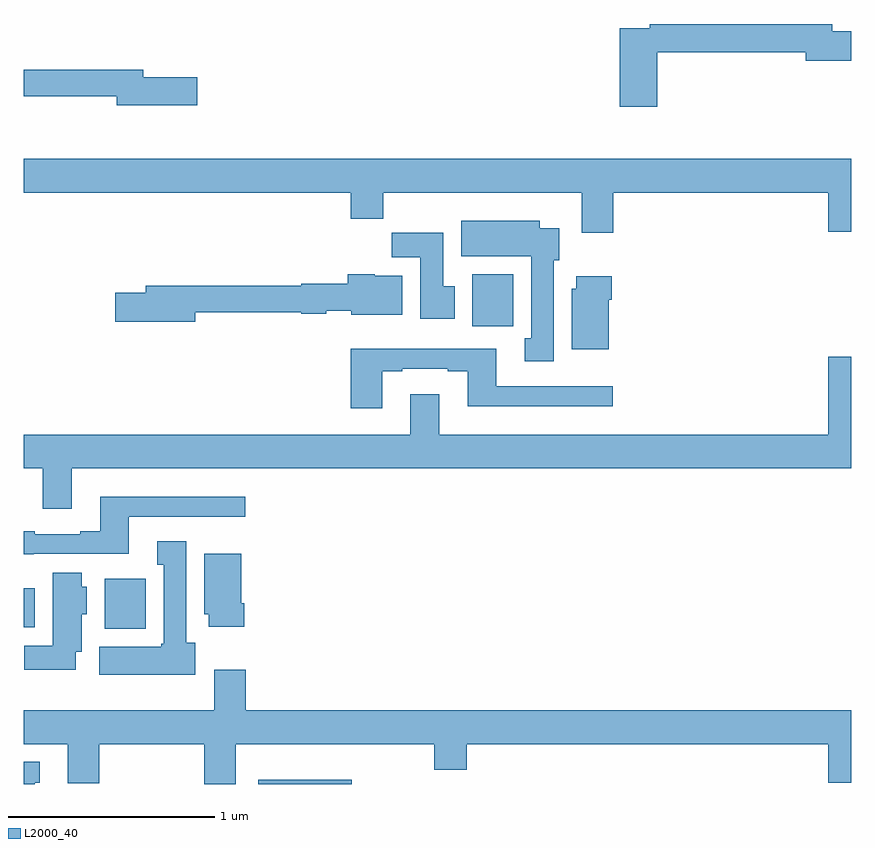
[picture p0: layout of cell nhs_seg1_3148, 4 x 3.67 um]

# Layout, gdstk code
import gdstk
lib = gdstk.Library(unit=1e-6, precision=1e-09)
def R(c, l, rs):  # rectangles x0, y0, x1, y1
    for r in rs: c.add(gdstk.rectangle(r[:2], r[2:], *l))
def P(c, l, *ps):  # polygons
    for p in ps: c.add(gdstk.Polygon(p, *l))
L2000_40 = (2000, 40)

nhs_seg1_3148 = lib.new_cell('nhs_seg1_3148')
R(nhs_seg1_3148, L2000_40, [(282.134,558.199,282.586,558.22), (281.393,558.95,281.59,559.192), (281,558.956,281.053,559.144), (283.169,560.412,283.365,560.662)])
P(nhs_seg1_3148, L2000_40, [(284.063,561.736),(284.78,561.736),(284.78,561.694),(285,561.694),(285,561.836),(284.908,561.836),(284.908,561.872),(284.026,561.872),(284.026,561.852),(283.88,561.852),(283.88,561.471),(284.063,561.471)],
  [(281.839,561.614),(281.578,561.614),(281.578,561.65),(281,561.65),(281,561.522),(281.45,561.522),(281.45,561.479),(281.839,561.479)],
  [(283.85,561.056),(284.888,561.056),(284.888,560.868),(285,560.868),(285,561.22),(281,561.22),(281,561.056),(282.581,561.056),(282.581,560.932),(282.737,560.932),(282.737,561.056),(283.697,561.056),(283.697,560.862),(283.85,560.862)],
  [(283.561,560.73),(283.588,560.73),(283.588,560.884),(283.495,560.884),(283.495,560.92),(283.115,560.92),(283.115,560.75),(283.454,560.75),(283.454,560.353),(283.421,560.353),(283.421,560.241),(283.561,560.241)],
  [(283.084,560.604),(283.027,560.604),(283.027,560.862),(282.778,560.862),(282.778,560.744),(282.917,560.744),(282.917,560.448),(283.084,560.448)],
  [(281.83,560.479),(282.342,560.479),(282.342,560.471),(282.462,560.471),(282.462,560.486),(282.582,560.486),(282.582,560.468),(282.829,560.468),(282.829,560.656),(282.696,560.656),(282.696,560.662),(282.566,560.662),(282.566,560.616),(282.342,560.616),(282.342,560.608),(281.591,560.608),(281.591,560.574),(281.442,560.574),(281.442,560.432),(281.83,560.432)],
  [(283.828,560.54),(283.841,560.54),(283.841,560.653),(283.67,560.653),(283.67,560.592),(283.649,560.592),(283.649,560.3),(283.828,560.3)],
  [(282.733,560.193),(282.829,560.193),(282.829,560.205),(283.049,560.205),(283.049,560.193),(283.145,560.193),(283.145,560.024),(283.846,560.024),(283.846,560.121),(283.285,560.121),(283.285,560.302),(282.581,560.302),(282.581,560.016),(282.733,560.016)],
  [(285,560.263),(284.888,560.263),(284.888,559.888),(283.009,559.888),(283.009,560.083),(282.869,560.083),(282.869,559.888),(281,559.888),(281,559.724),(281.093,559.724),(281.093,559.53),(281.233,559.53),(281.233,559.724),(285,559.724)],
  [(281.049,559.311),(281.509,559.311),(281.509,559.491),(282.07,559.491),(282.07,559.588),(281.369,559.588),(281.369,559.42),(281.273,559.42),(281.273,559.407),(281.053,559.407),(281.053,559.42),(281,559.42),(281,559.31),(281.049,559.31)],
  [(281.83,558.882),(281.785,558.882),(281.785,559.372),(281.645,559.372),(281.645,559.259),(281.678,559.259),(281.678,558.876),(281.665,558.876),(281.665,558.862),(281.366,558.862),(281.366,558.728),(281.83,558.728)],
  [(282.065,559.072),(282.052,559.072),(282.052,559.312),(281.873,559.312),(281.873,559.02),(281.894,559.02),(281.894,558.96),(282.065,558.96)],
  [(281.251,558.839),(281.281,558.839),(281.281,559.02),(281.305,559.02),(281.305,559.152),(281.281,559.152),(281.281,559.219),(281.141,559.219),(281.141,558.868),(281.002,558.868),(281.002,558.75),(281.251,558.75)],
  [(282.025,558.392),(282.985,558.392),(282.985,558.268),(283.142,558.268),(283.142,558.392),(284.888,558.392),(284.888,558.204),(285,558.204),(285,558.556),(282.074,558.556),(282.074,558.751),(281.921,558.751),(281.921,558.556),(281,558.556),(281,558.392),(281.213,558.392),(281.213,558.203),(281.366,558.203),(281.366,558.392),(281.873,558.392),(281.873,558.199),(282.025,558.199)],
  [(281.053,558.204),(281.077,558.204),(281.077,558.307),(281,558.307),(281,558.199),(281.053,558.199)])

lib.write_gds('nhs_seg1_3148.gds')
